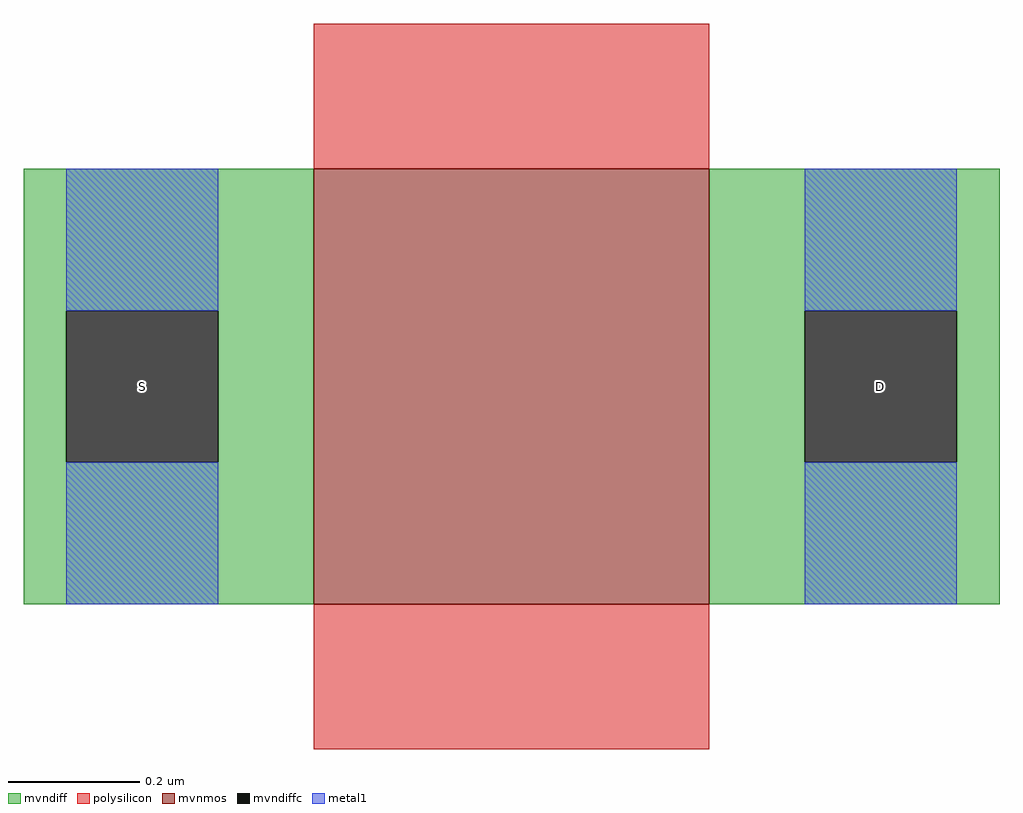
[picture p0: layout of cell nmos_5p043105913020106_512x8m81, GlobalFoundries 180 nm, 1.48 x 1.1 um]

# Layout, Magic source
magic
tech gf180mcuA
magscale 1 10
<< mvnmos >>
rect 0 0 120 132
<< mvndiff >>
rect -88 89 0 132
rect -88 43 -75 89
rect -29 43 0 89
rect -88 0 0 43
rect 120 89 208 132
rect 120 43 149 89
rect 195 43 208 89
rect 120 0 208 43
<< mvndiffc >>
rect -75 43 -29 89
rect 149 43 195 89
<< polysilicon >>
rect 0 132 120 176
rect 0 -44 120 0
<< metal1 >>
rect -75 89 -29 132
rect -75 0 -29 43
rect 149 89 195 132
rect 149 0 195 43
<< labels >>
flabel metal1 s -52 66 -52 66 0 FreeSans 200 0 0 0 S
flabel metal1 s 172 66 172 66 0 FreeSans 200 0 0 0 D
<< properties >>
string GDS_END 233674
string GDS_FILE $PDKPATH/libs.ref/gf180mcu_fd_ip_sram/gds/gf180mcu_fd_ip_sram__sram512x8m8wm1.gds
string GDS_START 232650
<< end >>
